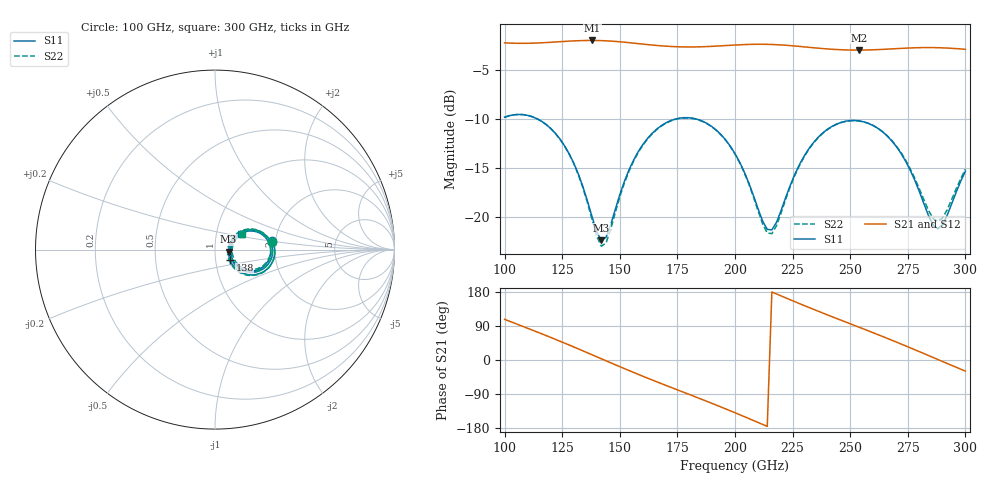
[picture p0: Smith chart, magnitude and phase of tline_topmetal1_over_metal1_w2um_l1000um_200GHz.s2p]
#  GHZ S DB R 50
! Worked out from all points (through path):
!   101 points, 100 GHz to 300 GHz, reference 50 ohm
!   highest |S21| = -2.00 dB at 138 GHz (marker M1); lowest = -3.0 dB at 254 GHz (marker M2)
!   group delay of S21, straight-line fit = 6.89 ps
!   lowest |S11| = -22.4 dB at 142 GHz (marker M3), VSWR 1.16, Z = 58.1 - j1.25 ohm
!   |S11| at or under -10 dB: 114.3 GHz to 174.2 GHz (59.95 GHz wide, 41.6 % of centre); 183.1 GHz to end of sweep
!   |S22| runs from -22.9 to -9.5 dB; largest |S21 - S12| = 9e-14
!   S11 on the Smith chart (normalised r, x): 100 GHz: 1.93, +0.20; 138 GHz: 1.17, -0.13; 300 GHz: 1.32, +0.24
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100  -9.82 8.1  -2.24 107.2  -2.24 107.2  -9.81 7.8
110  -9.63 -10.2  -2.29 83.7  -2.29 83.7  -9.63 -10.7
118  -10.55 -24.6  -2.21 64.5  -2.21 64.5  -10.56 -25.3
126  -12.72 -37.2  -2.10 44.7  -2.10 44.7  -12.74 -38.3
134  -16.90 -42.2  -2.01 24.1  -2.01 24.1  -17.01 -44.0
138  -20.00 -34.1  -2.00 13.7  -2.00 13.7  -20.28 -36.3
142  -22.36 -8.1  -2.02 3.2  -2.02 3.2  -22.95 -9.0
144  -22.06 8.9  -2.04 -2.0  -2.04 -2.0  -22.64 9.5
156  -14.18 33.2  -2.27 -32.9  -2.27 -32.9  -14.28 34.5
168  -10.68 16.2  -2.55 -62.2  -2.55 -62.2  -10.72 17.0
184  -10.05 -11.6  -2.65 -100.1  -2.65 -100.1  -10.08 -11.2
200  -13.52 -35.7  -2.47 -139.2  -2.47 -139.2  -13.57 -35.8
212  -20.40 -22.7  -2.39 -170.0  -2.39 -170.0  -20.68 -23.2
216  -21.29 3.2  -2.41 179.6  -2.41 179.6  -21.68 4.0
224  -16.74 31.5  -2.53 158.9  -2.53 158.9  -16.89 33.4
234  -12.42 25.4  -2.74 133.9  -2.74 133.9  -12.47 27.1
244  -10.52 10.2  -2.92 109.8  -2.92 109.8  -10.55 11.8
254  -10.20 -6.7  -2.98 86.2  -2.98 86.2  -10.20 -5.0
268  -12.21 -28.9  -2.86 52.4  -2.86 52.4  -12.17 -26.6
278  -16.22 -36.3  -2.75 27.2  -2.75 27.2  -16.02 -33.2
288  -21.18 -2.6  -2.74 1.5  -2.74 1.5  -20.43 -1.5
300  -15.32 30.9  -2.90 -29.2  -2.90 -29.2  -15.11 29.7
